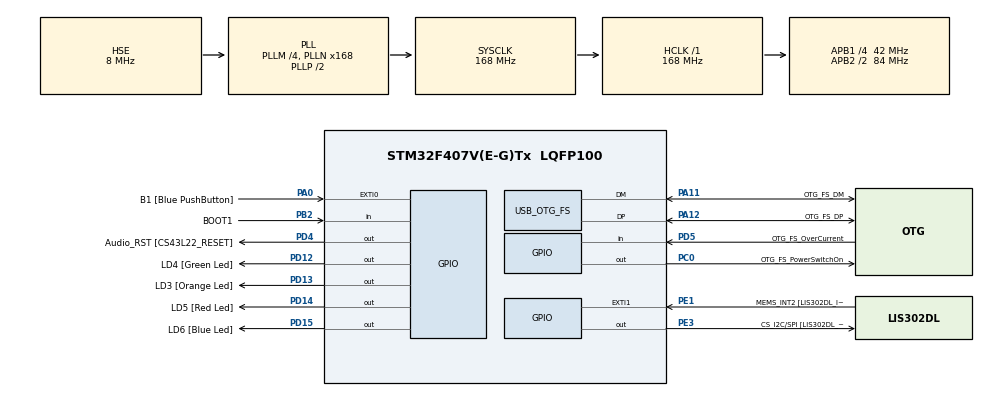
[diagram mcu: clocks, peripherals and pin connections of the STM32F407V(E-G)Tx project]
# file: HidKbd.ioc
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Mcu.Family=STM32F4
Mcu.Name=STM32F407V(E-G)Tx
Mcu.Package=LQFP100
NVIC.OTG_FS_IRQn=true\:0\:0\:false\:false\:true
NVIC.PriorityGroup=NVIC_PRIORITYGROUP_0
PA0-WKUP.GPIO_Label=B1 [Blue PushButton]
PA0-WKUP.GPIO_ModeDefaultEXTI=GPIO_MODE_EVT_RISING
PA0-WKUP.GPIO_PuPd=GPIO_NOPULL
PA0-WKUP.Signal=GPXTI0
PA10.GPIO_Label=OTG_FS_ID
PA10.GPIO_Mode=GPIO_MODE_AF_PP
PA10.GPIO_PuPd=GPIO_NOPULL
PA10.GPIO_Speed=GPIO_SPEED_FREQ_LOW
PA10.Signal=USB_OTG_FS_ID
PA11.GPIO_Label=OTG_FS_DM
PA11.GPIO_Mode=GPIO_MODE_AF_PP
PA11.GPIO_PuPd=GPIO_NOPULL
PA11.GPIO_Speed=GPIO_SPEED_FREQ_LOW
PA11.Mode=Device_Only
PA11.Signal=USB_OTG_FS_DM
PA12.GPIO_Label=OTG_FS_DP
PA12.GPIO_Mode=GPIO_MODE_AF_PP
PA12.GPIO_PuPd=GPIO_NOPULL
PA12.GPIO_Speed=GPIO_SPEED_FREQ_LOW
PA12.Mode=Device_Only
PA12.Signal=USB_OTG_FS_DP
PA13.GPIO_Label=SWDIO
PA13.Signal=SYS_JTMS-SWDIO
PA14.GPIO_Label=SWCLK
PA14.Signal=SYS_JTCK-SWCLK
PA4.GPIO_Label=I2S3_WS [CS43L22_LRCK]
PA4.GPIO_Mode=GPIO_MODE_AF_PP
PA4.GPIO_PuPd=GPIO_NOPULL
PA4.GPIO_Speed=GPIO_SPEED_FREQ_LOW
PA4.Signal=I2S3_WS
PA5.GPIO_Label=SPI1_SCK [LIS302DL_SCL/SPC]
PA5.GPIO_Mode=GPIO_MODE_AF_PP
PA5.GPIO_PuPd=GPIO_NOPULL
PA5.GPIO_Speed=GPIO_SPEED_FREQ_LOW
PA5.Signal=SPI1_SCK
PA6.GPIO_Label=SPI1_MISO [LIS302DL_SDO]
PA6.GPIO_Mode=GPIO_MODE_AF_PP
PA6.GPIO_PuPd=GPIO_NOPULL
PA6.GPIO_Speed=GPIO_SPEED_FREQ_LOW
PA6.Signal=SPI1_MISO
PA7.GPIO_Label=SPI1_MOSI [LIS302DL_SDA/SDI/SDO]
PA7.GPIO_Mode=GPIO_MODE_AF_PP
PA7.GPIO_PuPd=GPIO_NOPULL
PA7.GPIO_Speed=GPIO_SPEED_FREQ_LOW
PA7.Signal=SPI1_MOSI
PA9.GPIO_Label=VBUS_FS
PA9.GPIO_Mode=GPIO_MODE_INPUT
PA9.GPIO_PuPd=GPIO_NOPULL
PA9.Signal=USB_OTG_FS_VBUS
PB10.GPIO_Label=CLK_IN [MP45DT02_CLK]
PB10.GPIO_Mode=GPIO_MODE_AF_PP
PB10.GPIO_PuPd=GPIO_NOPULL
PB10.GPIO_Speed=GPIO_SPEED_FREQ_LOW
PB10.Signal=I2S2_CK
PB2.GPIO_Label=BOOT1
PB2.GPIO_Mode=GPIO_MODE_INPUT
PB2.GPIO_PuPd=GPIO_NOPULL
PB2.Signal=GPIO_Input
PB3.GPIO_Label=SWO
PB3.Signal=SYS_JTDO-SWO
PB6.GPIO_Label=Audio_SCL [CS43L22_SCL]
PB6.GPIO_Mode=GPIO_MODE_AF_OD
PB6.GPIO_PuPd=GPIO_NOPULL
PB6.GPIO_Speed=GPIO_SPEED_FREQ_LOW
PB6.Signal=I2C1_SCL
PB9.GPIO_Label=Audio_SDA [CS43L22_SDA]
PB9.GPIO_Mode=GPIO_MODE_AF_OD
PB9.GPIO_PuPd=GPIO_NOPULL
PB9.GPIO_Speed=GPIO_SPEED_FREQ_LOW
PB9.Signal=I2C1_SDA
PC0.GPIO_Label=OTG_FS_PowerSwitchOn
PC0.GPIO_PuPd=GPIO_NOPULL
PC0.GPIO_Speed=GPIO_SPEED_FREQ_LOW
PC0.PinState=GPIO_PIN_SET
PC0.Signal=GPIO_Output
PC10.GPIO_Label=I2S3_SCK [CS43L22_SCLK]
PC10.GPIO_Mode=GPIO_MODE_AF_PP
PC10.GPIO_PuPd=GPIO_NOPULL
PC10.GPIO_Speed=GPIO_SPEED_FREQ_LOW
PC10.Signal=I2S3_CK
PC12.GPIO_Label=I2S3_SD [CS43L22_SDIN]
PC12.GPIO_Mode=GPIO_MODE_AF_PP
PC12.GPIO_PuPd=GPIO_NOPULL
PC12.GPIO_Speed=GPIO_SPEED_FREQ_LOW
PC12.Signal=I2S3_SD
PC14-OSC32_IN.GPIO_Label=PC14-OSC32_IN
PC14-OSC32_IN.Signal=RCC_OSC32_IN
PC15-OSC32_OUT.GPIO_Label=PC15-OSC32_OUT
PC15-OSC32_OUT.Signal=RCC_OSC32_OUT
PC3.GPIO_Label=PDM_OUT [MP45DT02_DOUT]
PC3.GPIO_Mode=GPIO_MODE_AF_PP
PC3.GPIO_PuPd=GPIO_NOPULL
PC3.GPIO_Speed=GPIO_SPEED_FREQ_LOW
PC3.Signal=I2S2_SD
PC7.GPIO_Label=I2S3_MCK [CS43L22_MCLK]
PC7.GPIO_Mode=GPIO_MODE_AF_PP
PC7.GPIO_PuPd=GPIO_NOPULL
PC7.GPIO_Speed=GPIO_SPEED_FREQ_LOW
PC7.Signal=I2S3_MCK
PD12.GPIO_Label=LD4 [Green Led]
PD12.GPIO_PuPd=GPIO_NOPULL
PD12.GPIO_Speed=GPIO_SPEED_FREQ_LOW
PD12.Signal=GPIO_Output
PD13.GPIO_Label=LD3 [Orange Led]
PD13.GPIO_PuPd=GPIO_NOPULL
PD13.GPIO_Speed=GPIO_SPEED_FREQ_LOW
PD13.Signal=GPIO_Output
PD14.GPIO_Label=LD5 [Red Led]
PD14.GPIO_PuPd=GPIO_NOPULL
PD14.GPIO_Speed=GPIO_SPEED_FREQ_LOW
PD14.Signal=GPIO_Output
PD15.GPIO_Label=LD6 [Blue Led]
PD15.GPIO_PuPd=GPIO_NOPULL
PD15.GPIO_Speed=GPIO_SPEED_FREQ_LOW
PD15.Signal=GPIO_Output
PD4.GPIO_Label=Audio_RST [CS43L22_RESET]
PD4.GPIO_PuPd=GPIO_NOPULL
PD4.GPIO_Speed=GPIO_SPEED_FREQ_LOW
PD4.Signal=GPIO_Output
PD5.GPIO_Label=OTG_FS_OverCurrent
PD5.GPIO_Mode=GPIO_MODE_INPUT
PD5.GPIO_PuPd=GPIO_NOPULL
PD5.Signal=GPIO_Input
PE1.GPIO_Label=MEMS_INT2 [LIS302DL_INT2]
PE1.GPIO_ModeDefaultEXTI=GPIO_MODE_EVT_RISING
PE1.GPIO_PuPd=GPIO_NOPULL
PE1.Signal=GPXTI1
PE3.GPIO_Label=CS_I2C/SPI [LIS302DL_CS_I2C/SPI]
PE3.GPIO_PuPd=GPIO_NOPULL
PE3.GPIO_Speed=GPIO_SPEED_FREQ_LOW
PE3.Signal=GPIO_Output
PH0-OSC_IN.GPIO_Label=PH0-OSC_IN
PH0-OSC_IN.Mode=HSE-External-Oscillator
PH0-OSC_IN.Signal=RCC_OSC_IN
PH1-OSC_OUT.GPIO_Label=PH1-OSC_OUT
PH1-OSC_OUT.Mode=HSE-External-Oscillator
PH1-OSC_OUT.Signal=RCC_OSC_OUT
ProjectManager.HeapSize=0x200
ProjectManager.StackSize=0x400
ProjectManager.TargetToolchain=SW4STM32
RCC.48MHZClocksFreq_Value=48000000
RCC.AHBFreq_Value=168000000
RCC.APB1CLKDivider=RCC_HCLK_DIV4
RCC.APB1Freq_Value=42000000
RCC.APB1TimFreq_Value=84000000
RCC.APB2CLKDivider=RCC_HCLK_DIV2
RCC.APB2Freq_Value=84000000
RCC.APB2TimFreq_Value=168000000
RCC.CortexFreq_Value=168000000
RCC.HCLKFreq_Value=168000000
RCC.HSE_VALUE=8000000
RCC.HSI_VALUE=16000000
RCC.LSE_VALUE=32768
RCC.PLLM=4
RCC.PLLN=168
RCC.PLLQ=7
RCC.SYSCLKFreq_VALUE=168000000
RCC.SYSCLKSource=RCC_SYSCLKSOURCE_PLLCLK
RCC.VCOOutputFreq_Value=336000000
USB_DEVICE.CLASS_NAME-HID_FS=HID
USB_DEVICE.USBD_HandleTypeDef-HID_FS=hUsbDeviceFS
USB_DEVICE.VirtualMode-HID_FS=Hid
USB_DEVICE.VirtualModeFS=Hid_FS
USB_OTG_FS.VirtualMode=Device_Only
VP_USB_DEVICE_VS_USB_DEVICE_HID_FS.Mode=HID_FS
board=STM32F4DISCOVERY

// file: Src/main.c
/**
  ******************************************************************************
  * File Name          : main.c
  * Description        : Main program body
  ******************************************************************************
  *
  * Copyright (c) 2017 STMicroelectronics International N.V.
  * All rights reserved.
  *
  * Redistribution and use in source and binary forms, with or without
  * modification, are permitted, provided that the following conditions are met:
  *
  * 1. Redistribution of source code must retain the above copyright notice,
  *    this list of conditions and the following disclaimer.
  * 2. Redistributions in binary form must reproduce the above copyright notice,
  *    this list of conditions and the following disclaimer in the documentation
  *    and/or other materials provided with the distribution.
  * 3. Neither the name of STMicroelectronics nor the names of other
  *    contributors to this software may be used to endorse or promote products
  *    derived from this software without specific written permission.
  * 4. This software, including modifications and/or derivative works of this
  *    software, must execute solely and exclusively on microcontroller or
  *    microprocessor devices manufactured by or for STMicroelectronics.
  * 5. Redistribution and use of this software other than as permitted under
  *    this license is void and will automatically terminate your rights under
  *    this license.
  *
  * THIS SOFTWARE IS PROVIDED BY STMICROELECTRONICS AND CONTRIBUTORS "AS IS"
  * AND ANY EXPRESS, IMPLIED OR STATUTORY WARRANTIES, INCLUDING, BUT NOT
  * LIMITED TO, THE IMPLIED WARRANTIES OF MERCHANTABILITY, FITNESS FOR A
  * PARTICULAR PURPOSE AND NON-INFRINGEMENT OF THIRD PARTY INTELLECTUAL PROPERTY
  * RIGHTS ARE DISCLAIMED TO THE FULLEST EXTENT PERMITTED BY LAW. IN NO EVENT
  * SHALL STMICROELECTRONICS OR CONTRIBUTORS BE LIABLE FOR ANY DIRECT, INDIRECT,
  * INCIDENTAL, SPECIAL, EXEMPLARY, OR CONSEQUENTIAL DAMAGES (INCLUDING, BUT NOT
  * LIMITED TO, PROCUREMENT OF SUBSTITUTE GOODS OR SERVICES; LOSS OF USE, DATA,
  * OR PROFITS; OR BUSINESS INTERRUPTION) HOWEVER CAUSED AND ON ANY THEORY OF
  * LIABILITY, WHETHER IN CONTRACT, STRICT LIABILITY, OR TORT (INCLUDING
  * NEGLIGENCE OR OTHERWISE) ARISING IN ANY WAY OUT OF THE USE OF THIS SOFTWARE,
  * EVEN IF ADVISED OF THE POSSIBILITY OF SUCH DAMAGE.
  *
  ******************************************************************************
  */
#include "main.h"
#include "stm32f4xx_hal.h"
#include "usb_device.h"
#include "gpio.h"

/* USER CODE BEGIN Includes */
 #include "usbd_hid.h"
/* USER CODE END Includes */

/* USER CODE BEGIN PV */
/* Private variables ---------------------------------------------------------*/

/* USER CODE END PV */

void SystemClock_Config(void);
void Error_Handler(void);

/* USER CODE BEGIN PFP */
/* Private function prototypes -----------------------------------------------*/

/* USER CODE END PFP */

/* USER CODE BEGIN 0 */
struct mouse_report_t
{
    uint8_t buttons;
    int8_t x;
    int8_t y;
} mice_report;

struct keyboard_report_t
{

    uint8_t id;

    uint8_t modifier;
    uint8_t reserved;
    uint8_t keycode[6];
} kbd_report;

#define SHIFT 0x80
const uint8_t _asciimap[128] =
{
    0x00,             // NUL
    0x00,             // SOH
    0x00,             // STX
    0x00,             // ETX
    0x00,             // EOT
    0x00,             // ENQ
    0x00,             // ACK
    0x00,             // BEL
    0x2a,           // BS   Backspace
    0x2b,           // TAB  Tab
    0x28,           // LF   Enter
    0x00,             // VT
    0x00,             // FF
    0x00,             // CR
    0x00,             // SO
    0x00,             // SI
    0x00,             // DEL
    0x00,             // DC1
    0x00,             // DC2
    0x00,             // DC3
    0x00,             // DC4
    0x00,             // NAK
    0x00,             // SYN
    0x00,             // ETB
    0x00,             // CAN
    0x00,             // EM
    0x00,             // SUB
    0x00,             // ESC
    0x00,             // FS
    0x00,             // GS
    0x00,             // RS
    0x00,             // US

    0x2c,          //  ' '
    0x1e|SHIFT,    // !
    0x34|SHIFT,    // "
    0x20|SHIFT,    // #
    0x21|SHIFT,    // $
    0x22|SHIFT,    // %
    0x24|SHIFT,    // &
    0x34,          // '
    0x26|SHIFT,    // (
    0x27|SHIFT,    // )
    0x25|SHIFT,    // *
    0x2e|SHIFT,    // +
    0x36,          // ,
    0x2d,          // -
    0x37,          // .
    0x38,          // /
    0x27,          // 0
    0x1e,          // 1
    0x1f,          // 2
    0x20,          // 3
    0x21,          // 4
    0x22,          // 5
    0x23,          // 6
    0x24,          // 7
    0x25,          // 8
    0x26,          // 9
    0x33|SHIFT,      // :
    0x33,          // ;
    0x36|SHIFT,      // <
    0x2e,          // =
    0x37|SHIFT,      // >
    0x38|SHIFT,      // ?
    0x1f|SHIFT,      // @
    0x04|SHIFT,      // A
    0x05|SHIFT,      // B
    0x06|SHIFT,      // C
    0x07|SHIFT,      // D
    0x08|SHIFT,      // E
    0x09|SHIFT,      // F
    0x0a|SHIFT,      // G
    0x0b|SHIFT,      // H
    0x0c|SHIFT,      // I
    0x0d|SHIFT,      // J
    0x0e|SHIFT,      // K
    0x0f|SHIFT,      // L
    0x10|SHIFT,      // M
    0x11|SHIFT,      // N
    0x12|SHIFT,      // O
    0x13|SHIFT,      // P
    0x14|SHIFT,      // Q
    0x15|SHIFT,      // R
    0x16|SHIFT,      // S
    0x17|SHIFT,      // T
    0x18|SHIFT,      // U
    0x19|SHIFT,      // V
    0x1a|SHIFT,      // W
    0x1b|SHIFT,      // X
    0x1c|SHIFT,      // Y
    0x1d|SHIFT,      // Z
    0x2f,          // [
    0x31,          // bslash
    0x30,          // ]
    0x23|SHIFT,    // ^
    0x2d|SHIFT,    // _
    0x35,          // `
    0x04,          // a
    0x05,          // b
    0x06,          // c
    0x07,          // d
    0x08,          // e
    0x09,          // f
    0x0a,          // g
    0x0b,          // h
    0x0c,          // i
    0x0d,          // j
    0x0e,          // k
    0x0f,          // l
    0x10,          // m
    0x11,          // n
    0x12,          // o
    0x13,          // p
    0x14,          // q
    0x15,          // r
    0x16,          // s
    0x17,          // t
    0x18,          // u
    0x19,          // v
    0x1a,          // w
    0x1b,          // x
    0x1c,          // y
    0x1d,          // z
    0x2f|SHIFT,    // {
    0x31|SHIFT,    // |
    0x30|SHIFT,    // }
    0x35|SHIFT,    // ~
    0               // DEL
};

int scan_cvt=1;
void kbd_send_ch(uint8_t ch){
    int code;
    int i;
    if( scan_cvt ){
        if( ch > 128 ){
            ch -=128;
        }
        code = _asciimap[ch];
    }
    else
        code = ch;

    //id set here must be consistent with the one in Hid report descriptor
    //    0x85, 0x01,        //   Report ID (1)
    kbd_report.id = 1;

    kbd_report.keycode[0]=code&0x7F;
    kbd_report.keycode[1]=0;
    if ( code & 0x80) {                  // it's a capital letter or other character reached with shift
        kbd_report.modifier |= 0x02;    // the left shift modifier
    }
    for( i=0; i< 4;i++){
        USBD_HID_SendReport(&hUsbDeviceFS, (uint8_t *)&kbd_report, sizeof(kbd_report));
        HAL_Delay(10);
    }
    memset(kbd_report.keycode, 0 , sizeof(kbd_report.keycode));
    kbd_report.modifier = 0;
    USBD_HID_SendReport(&hUsbDeviceFS, (uint8_t *)&kbd_report, sizeof(kbd_report));
    HAL_Delay(100);

}

void kbd_send_str(const char *str){
    while( *str){
        kbd_send_ch(*str);
        str++;
    }
}

#define HID_MEDIA_PAUSE  0xB1 // pause
#define HID_MEDIA_RECORD  0xB3
#define HID_MEDIA_SCAN_NEXT 0xB5
#define HID_MEDIA_SCAN_PREV 0xB6
#define HID_MEDIA_STOP  0xB7
#define HID_MEDIA_EJECT 0xB8
#define HID_MEDIA_VOL_UP 0xE9
#define HID_MEDIA_VOL_DONW 0xEA
#define HID_MEDIA_PLAY  0xCD // play/pause

void  kbd_vol_up(){
    uint8_t report[3];
    report[0]= HID_MEDIA_REPORT;
    report[1]= 0xE9;
    report[2]= 0x00;
    USBD_HID_SendReport(&hUsbDeviceFS, report, 3);
    HAL_Delay(30);

    report[0]= HID_MEDIA_REPORT;
    report[1]= 0x00;
    report[2]= 0x00;
    USBD_HID_SendReport(&hUsbDeviceFS, report, 3);

}

void  kbd_vol_down(){
    uint8_t report[3];
    report[0]= HID_MEDIA_REPORT;

    report[1]= HID_MEDIA_VOL_DONW;

    report[2]= 0x00;
    USBD_HID_SendReport(&hUsbDeviceFS, report, 3);
    HAL_Delay(30);

    report[0]= HID_MEDIA_REPORT;
    report[1]= 0x00;
    report[2]= 0x00;
    USBD_HID_SendReport(&hUsbDeviceFS, report, 3);

}

void kbd_do_media(int code){
    uint8_t report[3];
    report[0]= HID_MEDIA_REPORT;
    report[1]= code;
    report[2]= 0x00;
    USBD_HID_SendReport(&hUsbDeviceFS, report, 3);
    HAL_Delay(30);

    report[0]= HID_MEDIA_REPORT;
    report[1]= 0x00;
    report[2]= 0x00;
    USBD_HID_SendReport(&hUsbDeviceFS, report, 3);
    HAL_Delay(20);

}

void USBD_HID_GetReport(uint8_t * report, int len){
    // see from http://www.microchip.com/forums/m433757.aspx
    // report[0] is the report id
    // report[1] is the led bit filed
    // D0: NUM lock
    // D1: CAPS lock
    // D2: SCROLL lock
    // D3: Compose
    // D4: Kana
    if ( report[0]==1 ){ // report id 1 is "led" refer to report id in hid report des
        HAL_GPIO_WritePin(LD3_GPIO_Port, LD3_Pin , report[1]&0x01? GPIO_PIN_SET: GPIO_PIN_RESET);
        HAL_GPIO_WritePin(LD4_GPIO_Port, LD4_Pin , report[1]&0x02? GPIO_PIN_SET: GPIO_PIN_RESET);
        HAL_GPIO_WritePin(LD5_GPIO_Port, LD5_Pin , report[1]&0x04? GPIO_PIN_SET: GPIO_PIN_RESET);
        HAL_GPIO_WritePin(LD6_GPIO_Port, LD6_Pin , report[1]&0x08? GPIO_PIN_SET: GPIO_PIN_RESET);
    }

}

/* USER CODE END 0 */

int main(void)
{

  /* USER CODE BEGIN 1 */
    int send=0;
    char str[10]="test";
    int code=0;

  /* USER CODE END 1 */

  /* MCU Configuration----------------------------------------------------------*/

  /* Reset of all peripherals, Initializes the Flash interface and the Systick. */
  HAL_Init();

  /* Configure the system clock */
  SystemClock_Config();

  /* Initialize all configured peripherals */
  MX_GPIO_Init();
  MX_USB_DEVICE_Init();

  /* Infinite loop */
  /* USER CODE BEGIN WHILE */
  while (1)
  {
      if( send){
           switch (send ) {
           case 1 :
               kbd_send_str(str);
               break;
           case 2 :
               kbd_vol_down();
               break;
           case 3 :
               kbd_vol_up();
               break;
           case 4:
               kbd_do_media(code);
           break;
           }
           HAL_Delay(1000);
           send = 0;

       }

  /* USER CODE END WHILE */

  }

}

/** System Clock Configuration
*/
void SystemClock_Config(void)
{

  RCC_OscInitTypeDef RCC_OscInitStruct;
  RCC_ClkInitTypeDef RCC_ClkInitStruct;

    /**Configure the main internal regulator output voltage
    */
  __HAL_RCC_PWR_CLK_ENABLE();

  __HAL_PWR_VOLTAGESCALING_CONFIG(PWR_REGULATOR_VOLTAGE_SCALE1);

    /**Initializes the CPU, AHB and APB busses clocks
    */
  RCC_OscInitStruct.OscillatorType = RCC_OSCILLATORTYPE_HSE;
  RCC_OscInitStruct.HSEState = RCC_HSE_ON;
  RCC_OscInitStruct.PLL.PLLState = RCC_PLL_ON;
  RCC_OscInitStruct.PLL.PLLSource = RCC_PLLSOURCE_HSE;
  RCC_OscInitStruct.PLL.PLLM = 4;
  RCC_OscInitStruct.PLL.PLLN = 168;
  RCC_OscInitStruct.PLL.PLLP = RCC_PLLP_DIV2;
  RCC_OscInitStruct.PLL.PLLQ = 7;
  if (HAL_RCC_OscConfig(&RCC_OscInitStruct) != HAL_OK)
  {
    Error_Handler();
  }

    /**Initializes the CPU, AHB and APB busses clocks
    */
  RCC_ClkInitStruct.ClockType = RCC_CLOCKTYPE_HCLK|RCC_CLOCKTYPE_SYSCLK
                              |RCC_CLOCKTYPE_PCLK1|RCC_CLOCKTYPE_PCLK2;
  RCC_ClkInitStruct.SYSCLKSource = RCC_SYSCLKSOURCE_PLLCLK;
  RCC_ClkInitStruct.AHBCLKDivider = RCC_SYSCLK_DIV1;
  RCC_ClkInitStruct.APB1CLKDivider = RCC_HCLK_DIV4;
  RCC_ClkInitStruct.APB2CLKDivider = RCC_HCLK_DIV2;

  if (HAL_RCC_ClockConfig(&RCC_ClkInitStruct, FLASH_LATENCY_5) != HAL_OK)
  {
    Error_Handler();
  }

    /**Configure the Systick interrupt time
    */
  HAL_SYSTICK_Config(HAL_RCC_GetHCLKFreq()/1000);

    /**Configure the Systick
    */
  HAL_SYSTICK_CLKSourceConfig(SYSTICK_CLKSOURCE_HCLK);

  /* SysTick_IRQn interrupt configuration */
  HAL_NVIC_SetPriority(SysTick_IRQn, 0, 0);
}

void Error_Handler(void)
{
  while(1)
  {
  }
}

/************************ (C) COPYRIGHT STMicroelectronics *****END OF FILE****/
